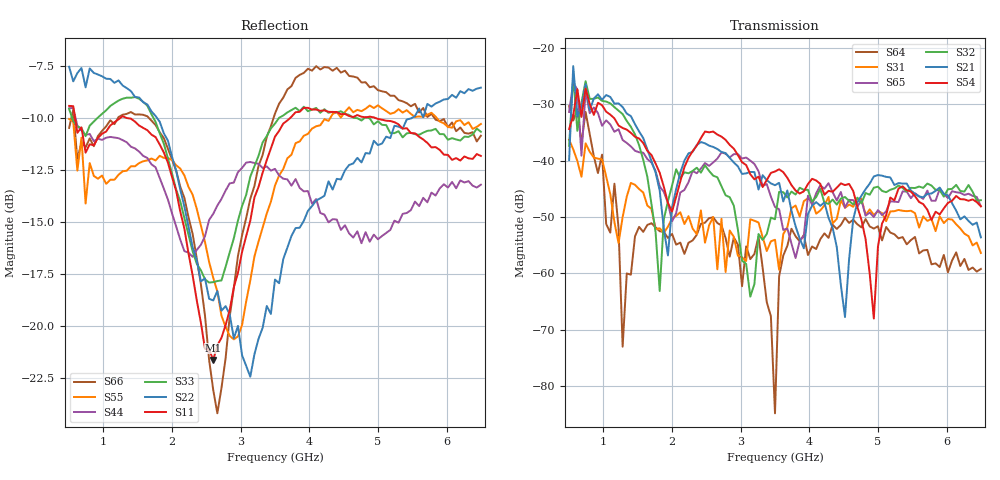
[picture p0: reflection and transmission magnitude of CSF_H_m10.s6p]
!Keysight Technologies,M9804A,MY58100912,A.14.10.03
!Date: Thursday, April 27, 2023 10:28:33
!Correction: S11(C  6-Port  )
!S12(C  6-Port  )
!S13(C  6-Port  )
!S14(C  6-Port  )
!S15(C  6-Port  )
!S16(C  6-Port  )
!S21(C  6-Port  )
!S22(C  6-Port  )
!S23(C  6-Port  )
!S24(C  6-Port  )
!S25(C  6-Port  )
!S26(C  6-Port  )
!S31(C  6-Port  )
!S32(C  6-Port  )
!S33(C  6-Port  )
!S34(C  6-Port  )
!S35(C  6-Port  )
!S36(C  6-Port  )
!S41(C  6-Port  )
!S42(C  6-Port  )
!S43(C  6-Port  )
!S44(C  6-Port  )
!S45(C  6-Port  )
!S46(C  6-Port  )
!S51(C  6-Port  )
!S52(C  6-Port  )
!S53(C  6-Port  )
!S54(C  6-Port  )
!S55(C  6-Port  )
!S56(C  6-Port  )
!S61(C  6-Port  )
!S62(C  6-Port  )
!S63(C  6-Port  )
!S64(C  6-Port  )
!S65(C  6-Port  )
!S66(C  6-Port  )
!S6P File: Measurement: :
# Hz S  RI  R 50
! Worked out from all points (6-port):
!   101 points, 500 MHz to 6.5 GHz, reference 50 ohm
!   strongest paths, dB at 500 MHz, 2 GHz, 3.5 GHz, 5 GHz, 6.5 GHz:
!     S54: -34.4, -49.0, -41.9, -55.3, -48.1
!     S21: -39.9, -48.2, -44.4, -42.6, -53.6
!     S32: -37.4, -44.4, -50.4, -44.6, -47.0
!     S65: -31.4, -50.8, -48.2, -48.8, -48.1
!     S31: -36.3, -50.3, -54.0, -49.0, -56.4
!     S64: -30.4, -53.0, -84.8, -51.6, -59.2
!   lowest |S11| = -21.6 dB at 2.6 GHz (marker M1), VSWR 1.18, Z = 42.6 + j2.04 ohm
!   |S11| at or under -10 dB: 587.4 MHz to 1.24 GHz (652.5 MHz wide, 71.4 % of centre); 1.368 GHz to 3.715 GHz (2.348 GHz wide, 92.4 % of centre); 4.975 GHz to end of sweep
